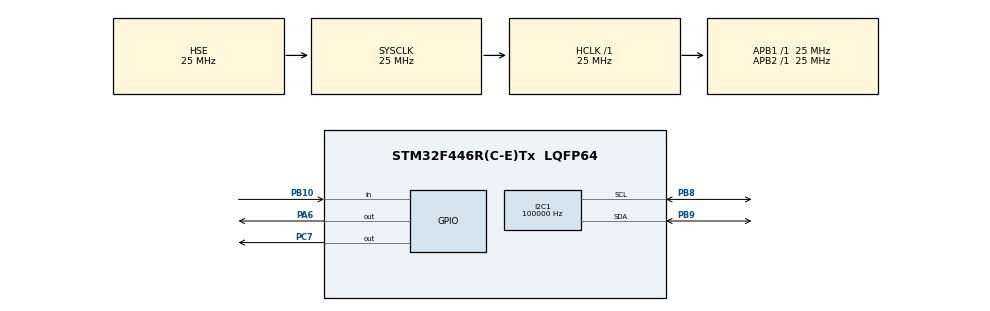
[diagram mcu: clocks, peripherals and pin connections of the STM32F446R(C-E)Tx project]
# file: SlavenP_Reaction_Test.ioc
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I2C1.ClockSpeed=100000
I2C1.I2C_Mode=I2C_Standard
I2C1.OwnAddress=0x3C
Mcu.Family=STM32F4
Mcu.Name=STM32F446R(C-E)Tx
Mcu.Package=LQFP64
NVIC.PriorityGroup=NVIC_PRIORITYGROUP_4
PA13.Mode=Serial_Wire
PA13.Signal=SYS_JTMS-SWDIO
PA14.Mode=Serial_Wire
PA14.Signal=SYS_JTCK-SWCLK
PA6.Signal=GPIO_Output
PB10.GPIO_PuPd=GPIO_PULLUP
PB10.Signal=GPIO_Input
PB8.Mode=I2C
PB8.Signal=I2C1_SCL
PB9.Mode=I2C
PB9.Signal=I2C1_SDA
PC7.Signal=GPIO_Output
PH0-OSC_IN.Mode=HSE-External-Oscillator
PH0-OSC_IN.Signal=RCC_OSC_IN
PH1-OSC_OUT.Mode=HSE-External-Oscillator
PH1-OSC_OUT.Signal=RCC_OSC_OUT
ProjectManager.HeapSize=0x200
ProjectManager.StackSize=0x400
ProjectManager.TargetToolchain=STM32CubeIDE
RCC.AHBFreq_Value=25000000
RCC.APB1Freq_Value=25000000
RCC.APB1TimFreq_Value=25000000
RCC.APB2Freq_Value=25000000
RCC.APB2TimFreq_Value=25000000
RCC.CortexFreq_Value=25000000
RCC.HCLKFreq_Value=25000000
RCC.HSE_VALUE=25000000
RCC.PLLSourceVirtual=RCC_PLLSOURCE_HSE
RCC.SYSCLKFreq_VALUE=25000000
RCC.SYSCLKSource=RCC_SYSCLKSOURCE_HSE
RCC.USBFreq_Value=150000000
RCC.VCOOutputFreq_Value=300000000
TIM2.Period=999
TIM2.Prescaler=24999
VP_TIM2_VS_ClockSourceINT.Mode=Internal
board=custom

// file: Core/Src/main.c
/* USER CODE BEGIN Header */
/**
  **********
  * @file           : main.c
  * @brief          : Main program body
  **********
  * @attention
  *
  * Copyright (c) 2024 STMicroelectronics.
  * All rights reserved.
  *
  * This software is licensed under terms that can be found in the LICENSE file
  * in the root directory of this software component.
  * If no LICENSE file comes with this software, it is provided AS-IS.
  *
  **********
  */
/* USER CODE END Header */
#include "main.h"
#include "i2c.h"
#include "tim.h"
#include "gpio.h"

/* USER CODE BEGIN Includes */
#include "lcd.h"
#include "fonts.h"

#define LED1_PIN GPIO_PIN_7
#define LED1_GPIO_PORT GPIOC
#define LED2_PIN GPIO_PIN_6
#define LED2_GPIO_PORT GPIOA
#define BUTTON_PIN GPIO_PIN_10
#define BUTTON_GPIO_PORT GPIOB

uint32_t reaction_time = 0;
char reaction_time_str[16];  // Buffer

/* USER CODE END Includes */

/* USER CODE BEGIN PD */
TIM_HandleTypeDef htim2;
void SystemClock_Config(void);
/* USER CODE END PD */

void SystemClock_Config(void);

int main(void)
{

  /* MCU Configuration--------------------------------------------------------*/

  /* Reset of all peripherals, Initializes the Flash interface and the Systick. */
  HAL_Init();

  /* Configure the system clock */
  SystemClock_Config();

  /* Initialize all configured peripherals */
  MX_GPIO_Init();
  MX_I2C1_Init();
  MX_TIM2_Init();
  /* USER CODE BEGIN 2 */
  SSD1306_Init ();

        SSD1306_GotoXY(10, 10);
        SSD1306_Puts("Press to ", &Font_11x18, 1);
        SSD1306_GotoXY (10, 30);
        SSD1306_Puts ("start", &Font_11x18, 1);
        SSD1306_UpdateScreen();
  /* USER CODE END 2 */

  /* Infinite loop */
  /* USER CODE BEGIN WHILE */
  while (1)
  {

                while (HAL_GPIO_ReadPin(GPIOB, GPIO_PIN_10) == GPIO_PIN_SET);

                SSD1306_Clear();
                              SSD1306_UpdateScreen();

                HAL_GPIO_WritePin(GPIOC, GPIO_PIN_7, GPIO_PIN_SET);
                HAL_Delay(2000);
                HAL_GPIO_WritePin(GPIOC, GPIO_PIN_7, GPIO_PIN_RESET);

                HAL_TIM_Base_Start(&htim2);

                while (HAL_GPIO_ReadPin(GPIOB, GPIO_PIN_10) == GPIO_PIN_SET);

                reaction_time = __HAL_TIM_GET_COUNTER(&htim2);
                HAL_TIM_Base_Stop(&htim2);
                __HAL_TIM_SET_COUNTER(&htim2, 0);

                SSD1306_Clear();
                SSD1306_GotoXY(10, 10);
                sprintf(reaction_time_str, "Time: %lu ms", reaction_time);
                SSD1306_Puts(reaction_time_str, &Font_11x18, 1);
                SSD1306_GotoXY (10, 30);
                 SSD1306_Puts ("ms", &Font_11x18, 1);
                SSD1306_UpdateScreen();

                HAL_Delay(2000);

                SSD1306_Clear();
                SSD1306_GotoXY(10, 10);
                SSD1306_Puts("Press to", &Font_11x18, 1);
                SSD1306_GotoXY(10, 30);
                SSD1306_Puts("start", &Font_11x18, 1);
                SSD1306_UpdateScreen();
            }
        }

  /* USER CODE END 3 */

void SystemClock_Config(void)
{
  RCC_OscInitTypeDef RCC_OscInitStruct = {0};
  RCC_ClkInitTypeDef RCC_ClkInitStruct = {0};

  /** Configure the main internal regulator output voltage
  */
  __HAL_RCC_PWR_CLK_ENABLE();
  __HAL_PWR_VOLTAGESCALING_CONFIG(PWR_REGULATOR_VOLTAGE_SCALE3);

  /** Initializes the RCC Oscillators according to the specified parameters
  * in the RCC_OscInitTypeDef structure.
  */
  RCC_OscInitStruct.OscillatorType = RCC_OSCILLATORTYPE_HSE;
  RCC_OscInitStruct.HSEState = RCC_HSE_ON;
  RCC_OscInitStruct.PLL.PLLState = RCC_PLL_NONE;
  if (HAL_RCC_OscConfig(&RCC_OscInitStruct) != HAL_OK)
  {
    Error_Handler();
  }

  /** Initializes the CPU, AHB and APB buses clocks
  */
  RCC_ClkInitStruct.ClockType = RCC_CLOCKTYPE_HCLK|RCC_CLOCKTYPE_SYSCLK
                              |RCC_CLOCKTYPE_PCLK1|RCC_CLOCKTYPE_PCLK2;
  RCC_ClkInitStruct.SYSCLKSource = RCC_SYSCLKSOURCE_HSE;
  RCC_ClkInitStruct.AHBCLKDivider = RCC_SYSCLK_DIV1;
  RCC_ClkInitStruct.APB1CLKDivider = RCC_HCLK_DIV1;
  RCC_ClkInitStruct.APB2CLKDivider = RCC_HCLK_DIV1;

  if (HAL_RCC_ClockConfig(&RCC_ClkInitStruct, FLASH_LATENCY_0) != HAL_OK)
  {
    Error_Handler();
  }
}

void Error_Handler(void)
{
  __disable_irq();
  while (1)
  {
  }
}
